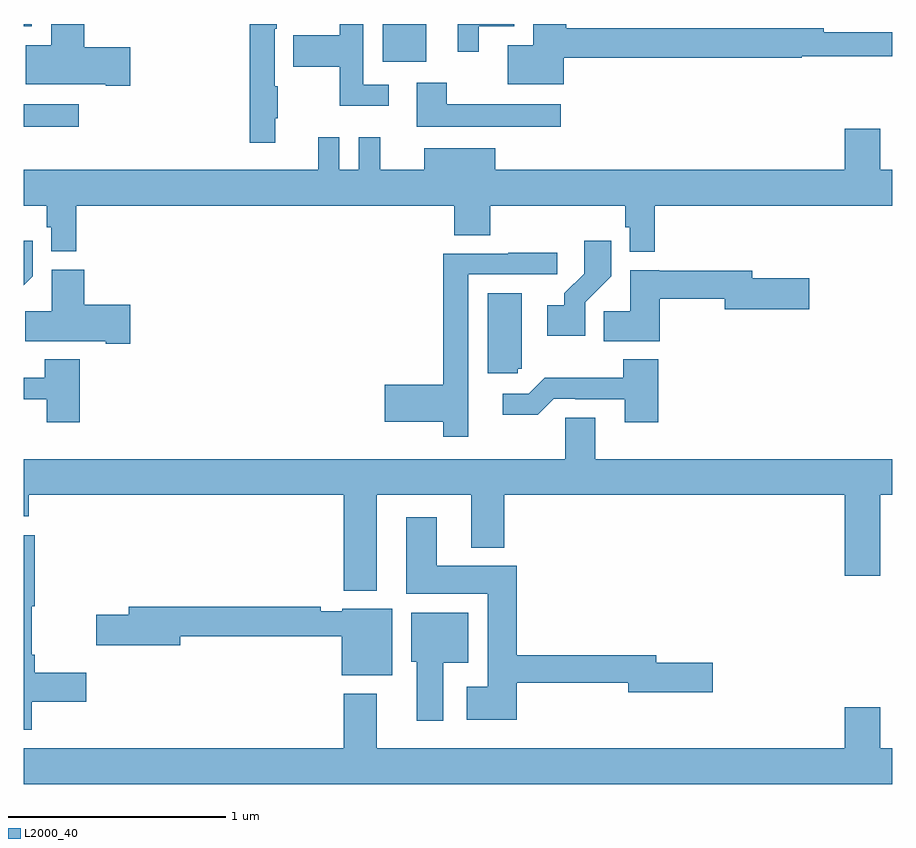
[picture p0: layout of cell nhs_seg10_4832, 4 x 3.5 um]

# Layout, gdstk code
import gdstk
lib = gdstk.Library(unit=1e-6, precision=1e-09)
def R(c, l, rs):  # rectangles x0, y0, x1, y1
    for r in rs: c.add(gdstk.rectangle(r[:2], r[2:], *l))
def P(c, l, *ps):  # polygons
    for p in ps: c.add(gdstk.Polygon(p, *l))
L2000_40 = (2000, 40)

nhs_seg10_4832 = lib.new_cell('nhs_seg10_4832')
R(nhs_seg10_4832, L2000_40, [(389,1286.027,389.254,1286.131), (390.653,1286.327,390.853,1286.5), (389,1286.49,389.038,1286.5)])
P(nhs_seg10_4832, L2000_40, [(390.158,1286.065),(390.169,1286.065),(390.169,1286.213),(390.156,1286.213),(390.156,1286.477),(390.165,1286.477),(390.165,1286.5),(390.04,1286.5),(390.04,1285.953),(390.158,1285.953)],
  [(390.682,1286.22),(390.564,1286.22),(390.564,1286.5),(390.456,1286.5),(390.456,1286.448),(390.241,1286.448),(390.241,1286.302),(390.456,1286.302),(390.456,1286.123),(390.682,1286.123)],
  [(391.096,1286.49),(391.258,1286.49),(391.258,1286.5),(390.998,1286.5),(390.998,1286.373),(391.096,1286.373)],
  [(389.491,1286.393),(389.279,1286.393),(389.279,1286.5),(389.126,1286.5),(389.126,1286.401),(389.009,1286.401),(389.009,1286.222),(389.378,1286.222),(389.378,1286.215),(389.491,1286.215)],
  [(391.486,1286.344),(392.582,1286.344),(392.582,1286.352),(393,1286.352),(393,1286.461),(392.684,1286.461),(392.684,1286.48),(391.499,1286.48),(391.499,1286.5),(391.346,1286.5),(391.346,1286.401),(391.229,1286.401),(391.229,1286.222),(391.486,1286.222)],
  [(391.474,1286.131),(390.949,1286.131),(390.949,1286.23),(390.809,1286.23),(390.809,1286.027),(391.474,1286.027)],
  [(391.907,1285.664),(393,1285.664),(393,1285.828),(392.944,1285.828),(392.944,1286.017),(392.78,1286.017),(392.78,1285.828),(391.171,1285.828),(391.171,1285.927),(390.845,1285.927),(390.845,1285.828),(390.641,1285.828),(390.641,1285.978),(390.543,1285.978),(390.543,1285.828),(390.453,1285.828),(390.453,1285.978),(390.356,1285.978),(390.356,1285.828),(389,1285.828),(389,1285.664),(389.107,1285.664),(389.107,1285.563),(389.127,1285.563),(389.127,1285.454),(389.243,1285.454),(389.243,1285.664),(390.983,1285.664),(390.983,1285.528),(391.148,1285.528),(391.148,1285.664),(391.771,1285.664),(391.771,1285.563),(391.791,1285.563),(391.791,1285.451),(391.907,1285.451)],
  [(389.042,1285.338),(389.042,1285.501),(389,1285.501),(389,1285.296)],
  [(391.587,1285.219),(391.706,1285.338),(391.706,1285.501),(391.581,1285.501),(391.581,1285.349),(391.49,1285.259),(391.49,1285.204),(391.41,1285.204),(391.41,1285.064),(391.587,1285.064)],
  [(391.048,1284.822),(391.047,1284.822),(391.047,1285.347),(391.456,1285.347),(391.456,1285.446),(391.231,1285.446),(391.231,1285.443),(390.931,1285.443),(390.931,1284.839),(390.663,1284.839),(390.663,1284.668),(390.931,1284.668),(390.931,1284.6),(391.048,1284.6)],
  [(389.491,1285.206),(389.279,1285.206),(389.279,1285.369),(389.129,1285.369),(389.129,1285.178),(389.008,1285.178),(389.008,1285.04),(389.378,1285.04),(389.378,1285.028),(389.491,1285.028)],
  [(391.93,1285.234),(392.228,1285.234),(392.228,1285.187),(392.617,1285.187),(392.617,1285.329),(392.356,1285.329),(392.356,1285.363),(391.926,1285.363),(391.926,1285.366),(391.793,1285.366),(391.793,1285.178),(391.672,1285.178),(391.672,1285.04),(391.93,1285.04)],
  [(391.275,1284.912),(391.294,1284.912),(391.294,1285.261),(391.136,1285.261),(391.136,1284.891),(391.275,1284.891)],
  [(389.258,1284.955),(389.098,1284.955),(389.098,1284.871),(389,1284.871),(389,1284.771),(389.105,1284.771),(389.105,1284.666),(389.258,1284.666)],
  [(391.922,1284.955),(391.762,1284.955),(391.762,1284.871),(391.399,1284.871),(391.326,1284.798),(391.206,1284.798),(391.206,1284.701),(391.367,1284.701),(391.44,1284.774),(391.54,1284.774),(391.54,1284.771),(391.769,1284.771),(391.769,1284.666),(391.922,1284.666)],
  [(390.625,1284.332),(391.061,1284.332),(391.061,1284.089),(391.214,1284.089),(391.214,1284.332),(392.78,1284.332),(392.78,1283.958),(392.944,1283.958),(392.944,1284.332),(393,1284.332),(393,1284.496),(391.633,1284.496),(391.633,1284.686),(391.494,1284.686),(391.494,1284.496),(389,1284.496),(389,1284.233),(389.024,1284.233),(389.024,1284.332),(390.473,1284.332),(390.473,1283.891),(390.625,1283.891)],
  [(391.271,1283.466),(391.784,1283.466),(391.784,1283.423),(392.173,1283.423),(392.173,1283.558),(391.912,1283.558),(391.912,1283.594),(391.271,1283.594),(391.271,1284.004),(390.901,1284.004),(390.901,1284.229),(390.761,1284.229),(390.761,1283.876),(391.136,1283.876),(391.136,1283.449),(391.041,1283.449),(391.041,1283.297),(391.271,1283.297)],
  [(389.038,1283.378),(389.287,1283.378),(389.287,1283.513),(389.051,1283.513),(389.051,1283.596),(389.038,1283.596),(389.038,1283.819),(389.051,1283.819),(389.051,1284.146),(389,1284.146),(389,1283.25),(389.038,1283.25)],
  [(390.697,1283.806),(390.468,1283.806),(390.468,1283.796),(390.368,1283.796),(390.368,1283.816),(389.483,1283.816),(389.483,1283.78),(389.334,1283.78),(389.334,1283.638),(389.722,1283.638),(389.722,1283.68),(390.464,1283.68),(390.464,1283.501),(390.697,1283.501)],
  [(390.931,1283.558),(391.048,1283.558),(391.048,1283.788),(390.785,1283.788),(390.785,1283.562),(390.809,1283.562),(390.809,1283.292),(390.931,1283.292)],
  [(393,1283.164),(392.944,1283.164),(392.944,1283.353),(392.78,1283.353),(392.78,1283.164),(390.625,1283.164),(390.625,1283.416),(390.473,1283.416),(390.473,1283.164),(389,1283.164),(389,1283),(393,1283)])

lib.write_gds('nhs_seg10_4832.gds')
